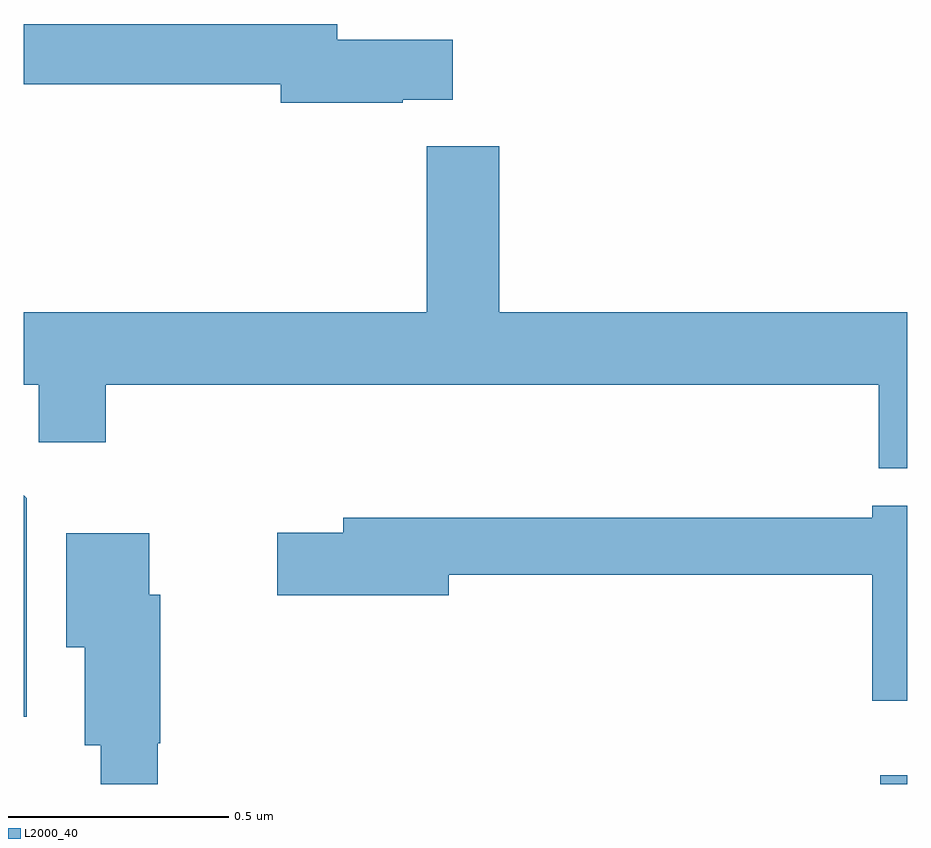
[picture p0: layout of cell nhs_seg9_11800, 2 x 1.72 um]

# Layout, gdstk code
import gdstk
lib = gdstk.Library(unit=1e-6, precision=1e-09)
def R(c, l, rs):  # rectangles x0, y0, x1, y1
    for r in rs: c.add(gdstk.rectangle(r[:2], r[2:], *l))
def P(c, l, *ps):  # polygons
    for p in ps: c.add(gdstk.Polygon(p, *l))
L2000_40 = (2000, 40)

nhs_seg9_11800 = lib.new_cell('nhs_seg9_11800')
R(nhs_seg9_11800, L2000_40, [(261.939,1211.5,262,1211.52)])
P(nhs_seg9_11800, L2000_40, [(260.858,1213.049),(260.971,1213.049),(260.971,1213.184),(260.71,1213.184),(260.71,1213.22),(260,1213.22),(260,1213.084),(260.582,1213.084),(260.582,1213.042),(260.858,1213.042)],
  [(262,1212.568),(261.076,1212.568),(261.076,1212.943),(260.912,1212.943),(260.912,1212.568),(260,1212.568),(260,1212.404),(260.034,1212.404),(260.034,1212.273),(260.186,1212.273),(260.186,1212.404),(261.935,1212.404),(261.935,1212.215),(262,1212.215)],
  [(260.007,1212.147),(260,1212.154),(260,1211.652),(260.007,1211.652)],
  [(262,1212.13),(261.92,1212.13),(261.92,1212.103),(260.723,1212.103),(260.723,1212.069),(260.574,1212.069),(260.574,1211.927),(260.962,1211.927),(260.962,1211.974),(261.92,1211.974),(261.92,1211.688),(262,1211.688)],
  [(260.303,1211.592),(260.309,1211.592),(260.309,1211.928),(260.284,1211.928),(260.284,1212.067),(260.096,1212.067),(260.096,1211.81),(260.138,1211.81),(260.138,1211.588),(260.175,1211.588),(260.175,1211.5),(260.303,1211.5)])

lib.write_gds('nhs_seg9_11800.gds')
